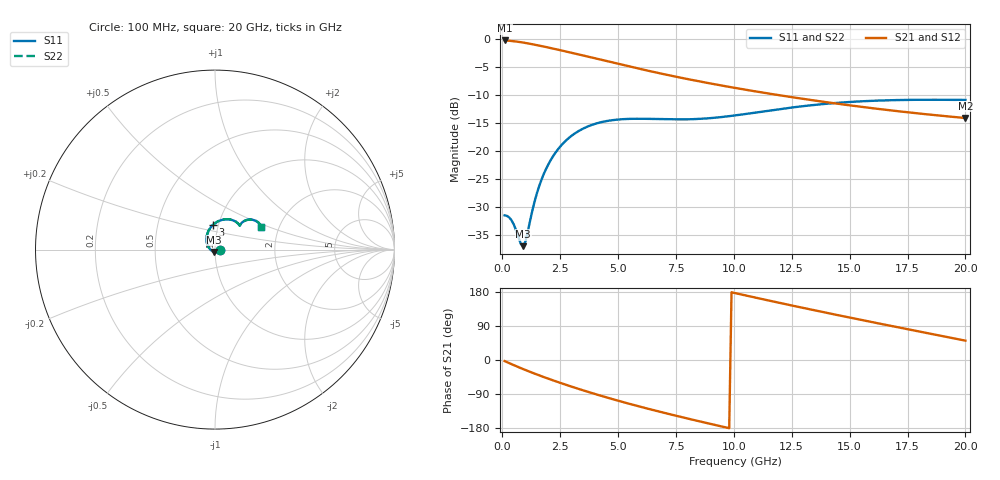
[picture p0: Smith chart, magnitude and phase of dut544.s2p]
! Touchstone file exported from HFSS 2024.1.0
!  File:  C:/UserFiles/LocalFiles/RDL_TSV_Batchsim/temp_RDL_TSV_544_1779747898.aedt
!  Generated:  06:41:14 AM May 26, 2026
!  Design:  RDL_TSV
!  Project:  temp_RDL_TSV_544_1779747898
!  Setup:  Setup1
!  Solution:  Sweep
! Variables:
!  dtsv = 14.25um
!  hbump = 3um
!  htsv = 94.54um
!  ldown = 617.6um
!  lrdl = 610.48um
!  p = 40
!  p1 = 48.36um
!  rhole = 10um
!  subl = 4294.72um
!  t = 450um
!  tdown = 2.84um
!  trdl = 2.51um
!  viad = 10um
!  wdown = 16.3um
!  wrdl = 26.95um
!  xbump = 18um
# GHz S MA R 50.000000
! Terminal data exported
! Port[1] = TM1_1_T1
! Port[2] = TM1_4_T1
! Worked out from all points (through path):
!   200 points, 100 MHz to 20 GHz, reference 50 ohm
!   highest |S21| = -0.24 dB at 100 MHz (marker M1); lowest = -14.1 dB at 20 GHz (marker M2)
!   group delay of S21, straight-line fit = 40.6 ps
!   lowest |S11| = -37.0 dB at 900 MHz (marker M3), VSWR 1.03, Z = 49.5 - j1.29 ohm
!   |S11| at or under -10 dB: start of sweep to end of sweep
!   |S22| runs from -37.0 to -10.8 dB; largest |S21 - S12| = 7.8e-15
!   S11 on the Smith chart (normalised r, x): 100 MHz: 1.05, -0.01; 3 GHz: 0.94, +0.26; 20 GHz: 1.61, +0.44
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0.1  0.02657 -5.2  0.9725 -2.8  0.9725 -2.8  0.02657 -5.2
! Gamma 0 0 0 0
! Port Impedance 50 0 50 0
0.4  0.02398 -26.8  0.9621 -11.0  0.9621 -11.0  0.02396 -26.8
0.8  0.01477 -85.6  0.9386 -21.4  0.9386 -21.4  0.01472 -85.9
0.9  0.01408 -111.7  0.9315 -23.9  0.9315 -23.9  0.01405 -112.0
1  0.0155 -138.3  0.924 -26.4  0.924 -26.4  0.0155 -138.7
1.3  0.02941 171.8  0.8999 -33.7  0.8999 -33.7  0.02953 171.6
1.5  0.04219 154.6  0.883 -38.4  0.883 -38.4  0.04237 154.5
1.8  0.06281 137.0  0.8569 -45.2  0.8569 -45.2  0.06307 136.9
2.3  0.09671 116.3  0.8134 -56.1  0.8134 -56.1  0.0971 116.2
3  0.137 95.2  0.7538 -70.5  0.7538 -70.5  0.1376 95.2
3.5  0.1588 83.5  0.7129 -80.2  0.7129 -80.2  0.1594 83.4
4.3  0.1814 68.7  0.651 -95.1  0.651 -95.1  0.1821 68.6
5.1  0.1917 58.0  0.5945 -109.1  0.5945 -109.1  0.1924 57.9
5.9  0.194 50.7  0.5441 -122.4  0.5441 -122.4  0.1947 50.6
6.8  0.1925 46.0  0.4946 -136.5  0.4946 -136.5  0.1932 46.0
8.3  0.1926 44.1  0.427 -158.8  0.427 -158.8  0.1932 44.1
10.1  0.2084 45.0  0.3646 175.9  0.3646 175.9  0.209 45.0
11.7  0.2322 44.0  0.3212 154.4  0.3212 154.4  0.2327 44.0
13.4  0.2569 40.7  0.284 132.3  0.284 132.3  0.2576 40.6
15  0.274 36.5  0.2558 112.0  0.2558 112.0  0.2747 36.5
16.7  0.2839 32.2  0.2314 91.0  0.2314 91.0  0.2847 32.2
20  0.2859 26.3  0.197 51.1  0.197 51.1  0.2866 26.3
